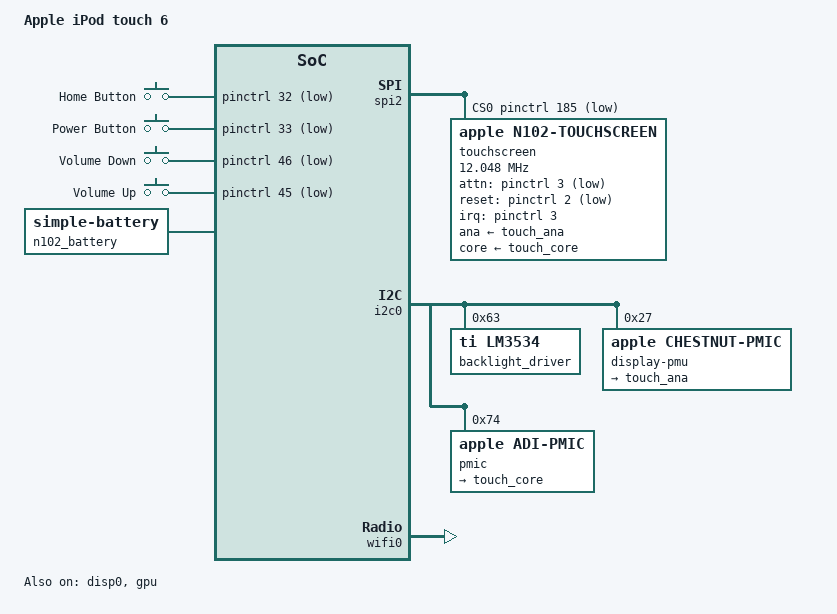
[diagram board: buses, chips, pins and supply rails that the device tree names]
// SPDX-License-Identifier: GPL-2.0+ OR MIT
/*
 * Apple iPod touch 6, N102, iPod7,1 (A1574)
 * Copyright (c) 2022, Konrad Dybcio <konradybcio@kernel.org>
 */

/dts-v1/;

#include "t7000.dtsi"
#include "t7000-common.dtsi"
#include "t7000-handheld.dtsi"
#include "t7000-bcm4345.dtsi"
#include <dt-bindings/input/input.h>

/ {
	compatible = "apple,n102", "apple,t7000", "apple,arm-platform";
	model = "Apple iPod touch 6";
	chassis-type = "handset";

	aliases {
		spi2 = &spi2;
		touchscreen0 = &touchscreen;
	};

	gpio-keys {
		compatible = "gpio-keys";

		button-home {
			label = "Home Button";
			gpios = <&pinctrl 32 GPIO_ACTIVE_LOW>;
			linux,code = <KEY_HOMEPAGE>;
			wakeup-source;
		};

		button-power {
			label = "Power Button";
			gpios = <&pinctrl 33 GPIO_ACTIVE_LOW>;
			linux,code = <KEY_POWER>;
			wakeup-source;
		};

		button-voldown {
			label = "Volume Down";
			gpios = <&pinctrl 46 GPIO_ACTIVE_LOW>;
			linux,code = <KEY_VOLUMEDOWN>;
		};

		button-volup {
			label = "Volume Up";
			gpios = <&pinctrl 45 GPIO_ACTIVE_LOW>;
			linux,code = <KEY_VOLUMEUP>;
		};
	};

	/*
	 * Design capacity (1080 mAh) and shutdown voltage (3400 mV) come from
	 * the board's firmware device tree (battery-family 6). The OCV curve
	 * comes from AppleARMPMUCharger battery-data["0006-default"].
	 */
	n102_battery: battery {
		compatible = "simple-battery";
		device-chemistry = "lithium-ion";
		charge-full-design-microamp-hours = <1080000>;
		voltage-min-design-microvolt = <3400000>;
		voltage-max-design-microvolt = <4350000>;
		factory-internal-resistance-micro-ohms = <200000>;
		ocv-capacity-celsius = <20>;
		ocv-capacity-table-0 = <4275000 99>,
				       <4176000 90>,
				       <4075000 80>,
				       <3970000 70>,
				       <3897000 60>,
				       <3835000 50>,
				       <3797000 40>,
				       <3771000 30>,
				       <3741000 20>,
				       <3689000 10>,
				       <3669000 5>,
				       <3460000 1>,
				       <3400000 0>;
	};
};

&dwi_bl {
	apple,led-driver = <&backlight_driver>;
};

&framebuffer0 {
	power-domains = <&ps_disp0 &ps_mipi_dsi>;
};

/*
 * The display pipe takes the 640x1136 panel over from simpledrm. No panel
 * supply is given: the panel stays on in system sleep.
 */
&disp0 {
	status = "okay";
};

&gpu {
	status = "okay";
};

/* Tell the USB input supply what the USB host allows. */
&usbdev {
	usb-psy-name = "apple-d2186-usb";
};

&spi2 {
	cs-gpios = <&pinctrl 185 GPIO_ACTIVE_LOW>;
	status = "okay";

	touchscreen: touchscreen@0 {
		compatible = "apple,n102-touchscreen";
		reg = <0>;
		/* The N1 driver requests an 83 ns SPI bit period. */
		spi-max-frequency = <12048192>;
		interrupts-extended = <&pinctrl 3 IRQ_TYPE_EDGE_FALLING>;
		attn-gpios = <&pinctrl 3 GPIO_ACTIVE_LOW>;
		reset-gpios = <&pinctrl 2 GPIO_ACTIVE_LOW>;
		ana-supply = <&touch_ana>;
		core-supply = <&touch_core>;
		clocks = <&touchclk>;
		firmware-name = "apple/n102-fwstart.z2fw";
		touchscreen-size-x = <640>;
		touchscreen-size-y = <1136>;
		touchscreen-inverted-y;
	};
};

&touchclk {
	status = "okay";
};
&i2c0 {
	status = "okay";


	backlight_driver: led-controller@63 {
		compatible = "ti,lm3534";
		reg = <0x63>;
	};

	display-pmu@27 {
		compatible = "apple,chestnut-pmic";
		reg = <0x27>;

		touch_ana: regulator-touch-hv {
			compatible = "apple,chestnut-touch-hv-regulator";
			regulator-name = "touch-analog";
		};
	};

	pmic@74 {
		compatible = "apple,adi-pmic", "apple,i2c-pmic";
		reg = <0x74>;
		#address-cells = <1>;
		#size-cells = <1>;

		pmu_gpio: gpio {
			compatible = "apple,d2186-pmic-gpio";
			gpio-controller;
			#gpio-cells = <2>;
			/* Only Bluetooth (8) and Wi-Fi (10) REG_ON are used; the others stay as iBoot left them. */
			gpio-reserved-ranges = <0 8>, <9 1>, <11 10>;
			/* ADT pmu: interrupt-parent AP GPIO, interrupts <106 1>. */
			interrupt-controller;
			#interrupt-cells = <2>;
			interrupts-extended = <&pinctrl 106 IRQ_TYPE_LEVEL_LOW>;
		};

		touch_core: regulator-touch-core {
			compatible = "apple,d2186-touch-core-regulator";
			regulator-name = "touch-core";
		};

		pmu_adc: adc@500 {
			compatible = "apple,d2186-adc";
			reg = <0x500 0x24>;
			#io-channel-cells = <1>;
		};

		battery {
			compatible = "apple,d2186-battery";
			monitored-battery = <&n102_battery>;
			io-channels = <&pmu_adc 4>,
				      <&pmu_adc 1>,
				      <&pmu_adc 2>,
				      <&pmu_adc 15>,
				      <&pmu_adc 9>;
			io-channel-names = "vbat",
					   "ich",
					   "tbat",
					   "vbus",
					   "ibus";
			/* The most an Apple host has granted this iPod: 500 + 1000 mA. */
			input-current-limit-microamp = <1500000>;
		};

		rtc@5c0 {
			compatible = "apple,adi-pmic-rtc", "apple,amber-pmic-rtc";
			reg = <0x5c0 0x10>;
			nvmem-cells = <&rtc_offset>;
			nvmem-cell-names = "rtc_offset";
			/* PMU event 88, the alarm; iOS names it "rtc" as a wake reason. */
			interrupt-parent = <&pmu_gpio>;
			interrupts = <88 IRQ_TYPE_EDGE_RISING>;
			wakeup-source;
		};

		nvmem@4000 {
			compatible = "apple,pmic-nvmem";
			reg = <0x4000 0x28>;

			nvmem-layout {
				compatible = "fixed-layout";
				#address-cells = <1>;
				#size-cells = <1>;

				rtc_offset: rtc-offset@4 {
					reg = <0x4 0x4>;
				};
			};
		};
	};
};

/* The boot loader set up the display; nothing restores it after power loss. */
&ps_disp0 {
	apple,always-on;
	apple,manual-pm;
};

&ps_mipi_dsi {
	apple,always-on;
	apple,manual-pm;
};

&bluetooth {
	compatible = "apple,n102-bcm4345b1-bt";
};

&wifi0 {
	brcm,board-type = "apple,bacchus";
};
